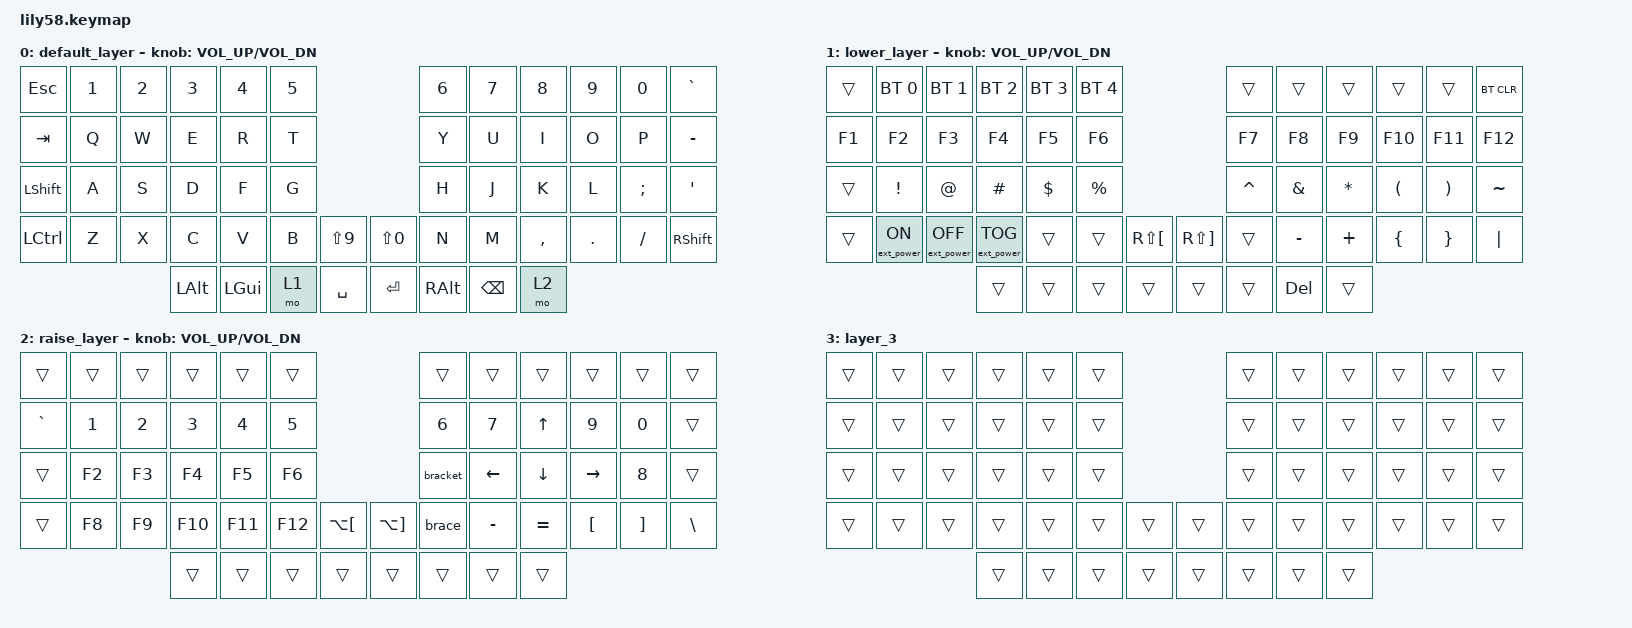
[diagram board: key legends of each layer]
/*
 * Copyright (c) 2020 The ZMK Contributors
 *
 * SPDX-License-Identifier: MIT
 */

#include <behaviors.dtsi>
#include <dt-bindings/zmk/bt.h>
#include <dt-bindings/zmk/ext_power.h>
#include <dt-bindings/zmk/keys.h>

/ {
    macros {
        bracket: Bracket {
            compatible = "zmk,behavior-macro";
            #binding-cells = <0>;
            bindings = <&kp LEFT_BRACKET &kp RIGHT_BRACKET &kp LEFT_ARROW>;
            label = "BRACKET";
        };

        parenth: parenth {
            compatible = "zmk,behavior-macro";
            #binding-cells = <0>;
            bindings = <&kp LEFT_PARENTHESIS &kp RIGHT_PARENTHESIS &kp LEFT_ARROW>;
            label = "PARENTH";
        };

        brace: brace {
            compatible = "zmk,behavior-macro";
            #binding-cells = <0>;
            bindings = <&kp LEFT_BRACE &kp RIGHT_BRACE &kp LEFT_ARROW>;
            label = "BRACE";
        };
    };

    keymap {
        compatible = "zmk,keymap";

        default_layer {
            // ------------------------------------------------------------------------------------------------------------
            // |  ESC  |  1  |  2  |  3   |  4   |  5   |                   |  6   |  7    |  8    |  9   |   0   |   `   |
            // |  TAB  |  Q  |  W  |  E   |  R   |  T   |                   |  Y   |  U    |  I    |  O   |   P   |   -   |
            // |  CTRL |  A  |  S  |  D   |  F   |  G   |                   |  H   |  J    |  K    |  L   |   ;   |   '   |
            // | SHIFT |  Z  |  X  |  C   |  V   |  B   |   "["  |  |  "]"  |  N   |  M    |  ,    |  .   |   /   | SHIFT |
            //                     | ALT  | GUI  | LOWER|  SPACE |  | ENTER | RAISE| BSPC  | GUI   |

            bindings = <
&kp ESC           &kp N1  &kp N2  &kp N3        &kp N4    &kp N5                            &kp N6         &kp N7         &kp N8     &kp N9   &kp N0    &kp GRAVE
&kp TAB           &kp Q   &kp W   &kp E         &kp R     &kp T                             &kp Y          &kp U          &kp I      &kp O    &kp P     &kp MINUS
&kp LEFT_SHIFT    &kp A   &kp S   &kp D         &kp F     &kp G                             &kp H          &kp J          &kp K      &kp L    &kp SEMI  &kp SQT
&kp LEFT_CONTROL  &kp Z   &kp X   &kp C         &kp V     &kp B   &kp LS(N9)    &kp LS(N0)  &kp N          &kp M          &kp COMMA  &kp DOT  &kp FSLH  &kp RSHFT
                                  &kp LEFT_ALT  &kp LGUI  &mo 1   &kp SPACE     &kp RET     &kp RIGHT_ALT  &kp BACKSPACE  &mo 2
            >;

            sensor-bindings = <&inc_dec_kp C_VOL_UP C_VOL_DN>;
        };

        lower_layer {
            // ------------------------------------------------------------------------------------------------------------
            // | BTCLR | BT1 | BT2 |  BT3 |  BT4 |  BT5 |                   |      |       |       |      |       |       |
            // |  F1   |  F2 |  F3 |  F4  |  F5  |  F6  |                   |  F7  |  F8   |  F9   |  F10 |  F11  |  F12  |
            // |   `   |  !  |  @  |  #   |  $   |  %   |                   |  ^   |  &    |  *    |  (   |   )   |   ~   |
            // |       |     |     |      |      |      |        |  |       |      |  _    |  +    |  {   |   }   |  "|"  |
            //                     |      |      |      |        |  |       |      |       |       |

            bindings = <
&trans  &bt BT_SEL 0      &bt BT_SEL 1       &bt BT_SEL 2       &bt BT_SEL 3  &bt BT_SEL 4                                &trans     &trans      &trans     &trans    &trans    &bt BT_CLR
&kp F1  &kp F2            &kp F3             &kp F4             &kp F5        &kp F6                                      &kp F7     &kp F8      &kp F9     &kp F10   &kp F11   &kp F12
&trans  &kp EXCL          &kp AT             &kp HASH           &kp DOLLAR    &kp PRCNT                                   &kp CARET  &kp AMPS    &kp ASTRK  &kp LPAR  &kp RPAR  &kp TILDE
&trans  &ext_power EP_ON  &ext_power EP_OFF  &ext_power EP_TOG  &trans        &trans        &kp RS(LBKT)    &kp RS(RBKT)  &trans     &kp MINUS   &kp PLUS   &kp LBRC  &kp RBRC  &kp PIPE
                                             &trans             &trans        &trans        &trans          &trans        &trans     &kp DELETE  &trans
            >;

            sensor-bindings = <&inc_dec_kp C_VOL_UP C_VOL_DN>;
        };

        raise_layer {
            // ------------------------------------------------------------------------------------------------------------
            // |       |     |     |      |      |      |                   |      |       |       |      |       |       |
            // |   `   |  1  |  2  |  3   |  4   |  5   |                   |  6   |   7   |   8   |  9   |   0   |       |
            // |   F1  |  F2 |  F3 |  F4  |  F5  |  F6  |                   |      |   <-  |   v   |  ^   |  ->   |       |
            // |   F7  |  F8 |  F9 |  F10 |  F11 |  F12 |        |  |       |  +   |   -   |   =   |  [   |   ]   |   \   |
            //                     |      |      |      |        |  |       |      |       |       |

            bindings = <
&trans     &trans  &trans  &trans   &trans   &trans                                 &trans    &trans     &trans        &trans     &trans    &trans
&kp GRAVE  &kp N1  &kp N2  &kp N3   &kp N4   &kp N5                                 &kp N6    &kp N7     &kp UP_ARROW  &kp N9     &kp N0    &trans
&trans     &kp F2  &kp F3  &kp F4   &kp F5   &kp F6                                 &bracket  &kp LEFT   &kp DOWN      &kp RIGHT  &kp N8    &trans
&trans     &kp F8  &kp F9  &kp F10  &kp F11  &kp F12  &kp LA(LBKT)    &kp LA(RBKT)  &brace    &kp MINUS  &kp EQUAL     &kp LBKT   &kp RBKT  &kp BSLH
                           &trans   &trans   &trans   &trans          &trans        &trans    &trans     &trans
            >;

            sensor-bindings = <&inc_dec_kp C_VOL_UP C_VOL_DN>;
        };

        layer_3 {
            bindings = <
&trans  &trans  &trans  &trans  &trans  &trans                    &trans  &trans  &trans  &trans  &trans  &trans
&trans  &trans  &trans  &trans  &trans  &trans                    &trans  &trans  &trans  &trans  &trans  &trans
&trans  &trans  &trans  &trans  &trans  &trans                    &trans  &trans  &trans  &trans  &trans  &trans
&trans  &trans  &trans  &trans  &trans  &trans  &trans    &trans  &trans  &trans  &trans  &trans  &trans  &trans
                        &trans  &trans  &trans  &trans    &trans  &trans  &trans  &trans
            >;
        };
    };
};
